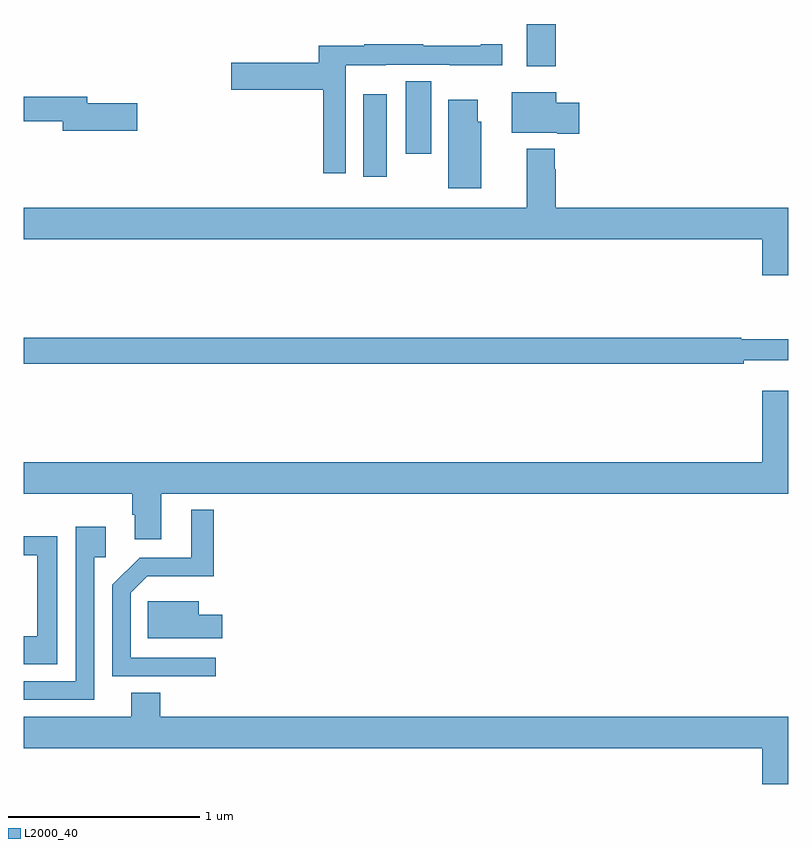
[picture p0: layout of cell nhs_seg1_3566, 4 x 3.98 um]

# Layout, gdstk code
import gdstk
lib = gdstk.Library(unit=1e-6, precision=1e-09)
def R(c, l, rs):  # rectangles x0, y0, x1, y1
    for r in rs: c.add(gdstk.rectangle(r[:2], r[2:], *l))
def P(c, l, *ps):  # polygons
    for p in ps: c.add(gdstk.Polygon(p, *l))
L2000_40 = (2000, 40)

nhs_seg1_3566 = lib.new_cell('nhs_seg1_3566')
R(nhs_seg1_3566, L2000_40, [(306.776,545.4,306.898,545.83), (306.998,545.52,307.132,545.9), (307.631,545.979,307.784,546.199)])
P(nhs_seg1_3566, L2000_40, [(306.684,545.984),(306.894,545.984),(306.894,545.985),(307.228,545.985),(307.228,545.984),(307.504,545.984),(307.504,546.094),(307.391,546.094),(307.391,546.084),(307.091,546.084),(307.091,546.094),(306.781,546.094),(306.781,546.084),(306.542,546.084),(306.542,545.997),(306.084,545.997),(306.084,545.855),(306.568,545.855),(306.568,545.418),(306.684,545.418)],
  [(307.906,545.788),(307.786,545.788),(307.786,545.842),(307.553,545.842),(307.553,545.63),(307.793,545.63),(307.793,545.625),(307.906,545.625)],
  [(305.593,545.783),(305.332,545.783),(305.332,545.819),(305,545.819),(305,545.691),(305.204,545.691),(305.204,545.641),(305.593,545.641)],
  [(307.393,545.688),(307.375,545.688),(307.375,545.803),(307.22,545.803),(307.22,545.34),(307.393,545.34)],
  [(309,545.236),(307.784,545.236),(307.784,545.438),(307.78,545.438),(307.78,545.545),(307.631,545.545),(307.631,545.236),(305,545.236),(305,545.072),(308.864,545.072),(308.864,544.884),(309,544.884)],
  [(308.768,544.439),(309,544.439),(309,544.549),(308.755,544.549),(308.755,544.556),(305,544.556),(305,544.42),(308.768,544.42)],
  [(305.719,543.74),(309,543.74),(309,544.279),(308.864,544.279),(308.864,543.904),(305,543.904),(305,543.74),(305.567,543.74),(305.567,543.629),(305.579,543.629),(305.579,543.501),(305.719,543.501)],
  [(306.004,542.88),(305.559,542.88),(305.559,543.222),(305.645,543.308),(305.993,543.308),(305.993,543.655),(305.876,543.655),(305.876,543.405),(305.606,543.405),(305.463,543.262),(305.463,542.784),(306.004,542.784)],
  [(305.367,543.407),(305.428,543.407),(305.428,543.568),(305.271,543.568),(305.271,542.757),(305,542.757),(305,542.661),(305.367,542.661)],
  [(305.173,543.516),(305,543.516),(305,543.417),(305.069,543.417),(305.069,542.993),(305,542.993),(305,542.846),(305.173,542.846)],
  [(306.037,543.106),(305.914,543.106),(305.914,543.178),(305.649,543.178),(305.649,542.984),(306.037,542.984)],
  [(309,542.572),(305.714,542.572),(305.714,542.699),(305.561,542.699),(305.561,542.572),(305,542.572),(305,542.408),(308.864,542.408),(308.864,542.22),(309,542.22)])

lib.write_gds('nhs_seg1_3566.gds')
